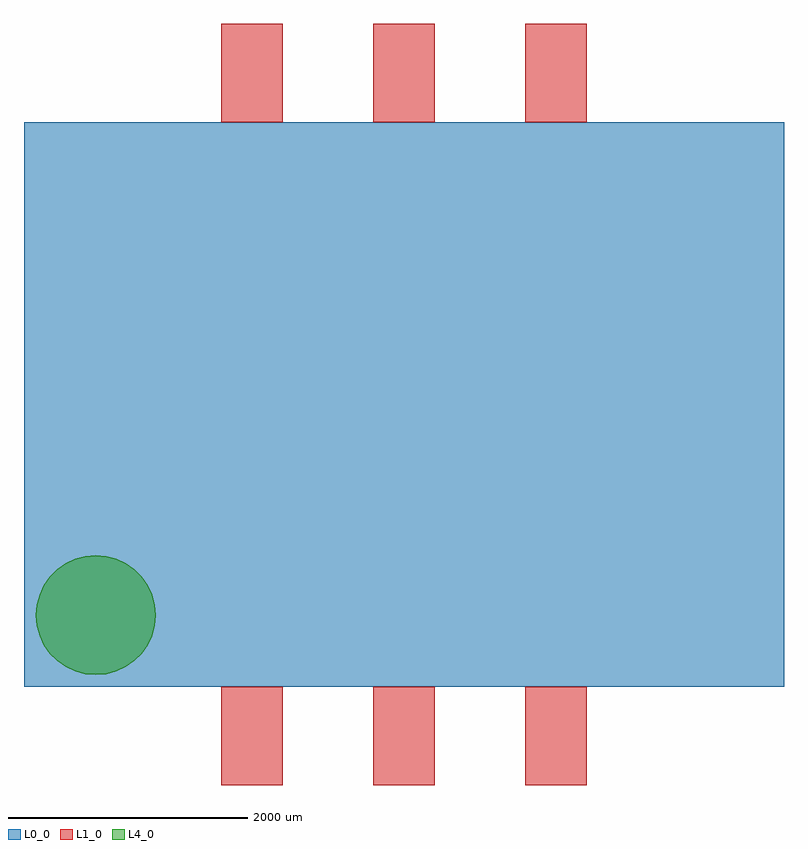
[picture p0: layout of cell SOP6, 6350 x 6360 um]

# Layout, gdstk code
import gdstk
lib = gdstk.Library(unit=1e-6, precision=1e-09)
def R(c, l, rs):  # rectangles x0, y0, x1, y1
    for r in rs: c.add(gdstk.rectangle(r[:2], r[2:], *l))
def A(c, l, x, y, w, h, nx, ny, dx, dy):  # array of equal rectangles
    R(c, l, [(x+i*dx, y+j*dy, x+i*dx+w, y+j*dy+h) for i in range(nx) for j in range(ny)])
def P(c, l, *ps):  # polygons
    for p in ps: c.add(gdstk.Polygon(p, *l))
L0_0 = (0, 0)
L1_0 = (1, 0)
L4_0 = (4, 0)
L99_1 = (99, 1)
L99_2 = (99, 2)
L99_3 = (99, 3)
L99_4 = (99, 4)
L99_5 = (99, 5)
L99_6 = (99, 6)

sop6 = lib.new_cell('SOP6')
R(sop6, L0_0, [(0,0,6350,4720)])
A(sop6, L1_0, 1650, -820, 510, 820, 3, 2, 1270, 5540)
P(sop6, L4_0, [(1100,600),(1092.404,513.176),(1069.846,428.99),(1033.013,350),(983.022,278.606),(921.394,216.978),(850,166.987),(771.01,130.154),(686.824,107.596),(600,100),(513.176,107.596),(428.99,130.154),(350,166.987),(278.606,216.978),(216.978,278.606),(166.987,350),(130.154,428.99),(107.596,513.176),(100,600),(107.596,686.824),(130.154,771.01),(166.987,850),(216.978,921.394),(278.606,983.022),(350,1033.013),(428.99,1069.846),(513.176,1092.404),(600,1100),(686.824,1092.404),(771.01,1069.846),(850,1033.013),(921.394,983.022),(983.022,921.394),(1033.013,850),(1069.846,771.01),(1092.404,686.824)])
sop6.add(gdstk.FlexPath([(2160,0),(1650,0)], 0, ends="round", simple_path=True, layer=99, datatype=1))  # L99_1
sop6.add(gdstk.FlexPath([(3430,0),(2920,0)], 0, ends="round", simple_path=True, layer=99, datatype=2))  # L99_2
sop6.add(gdstk.FlexPath([(4700,0),(4190,0)], 0, ends="round", simple_path=True, layer=99, datatype=3))  # L99_3
sop6.add(gdstk.FlexPath([(1650,4720),(2160,4720)], 0, ends="round", simple_path=True, layer=99, datatype=6))  # L99_6
sop6.add(gdstk.FlexPath([(2920,4720),(3430,4720)], 0, ends="round", simple_path=True, layer=99, datatype=5))  # L99_5
sop6.add(gdstk.FlexPath([(4190,4720),(4700,4720)], 0, ends="round", simple_path=True, layer=99, datatype=4))  # L99_4

lib.write_gds('SOP6.gds')
